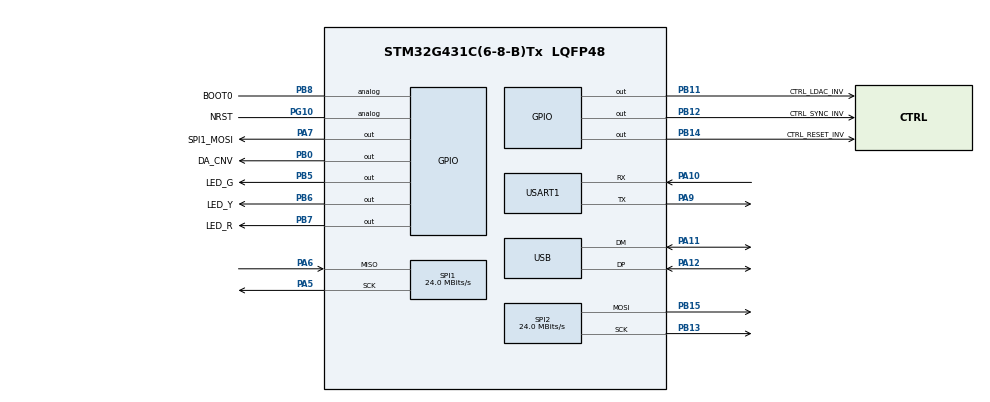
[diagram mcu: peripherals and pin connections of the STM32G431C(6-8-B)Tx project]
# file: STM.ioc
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Mcu.Family=STM32G4
Mcu.Name=STM32G431C(6-8-B)Tx
Mcu.Package=LQFP48
NVIC.PriorityGroup=NVIC_PRIORITYGROUP_4
NVIC.USB_LP_IRQn=true\:0\:0\:false\:false\:true\:false\:true
PA10.Mode=Asynchronous
PA10.Signal=USART1_RX
PA11.Mode=Device
PA11.Signal=USB_DM
PA12.Mode=Device
PA12.Signal=USB_DP
PA13.Mode=Trace_Asynchronous_SW
PA13.Signal=SYS_JTMS-SWDIO
PA14.Mode=Trace_Asynchronous_SW
PA14.Signal=SYS_JTCK-SWCLK
PA5.Mode=RX_Only_Simplex_Unidirect_Master
PA5.Signal=SPI1_SCK
PA6.Mode=RX_Only_Simplex_Unidirect_Master
PA6.Signal=SPI1_MISO
PA7.GPIO_Label=SPI1_MOSI
PA7.Signal=GPIO_Output
PA9.Mode=Asynchronous
PA9.Signal=USART1_TX
PB0.GPIO_Label=DA_CNV
PB0.Signal=GPIO_Output
PB11.GPIO_Label=CTRL_LDAC_INV
PB11.Signal=GPIO_Output
PB12.GPIO_Label=CTRL_SYNC_INV
PB12.Signal=GPIO_Output
PB13.Mode=TX_Only_Simplex_Unidirect_Master
PB13.Signal=SPI2_SCK
PB14.GPIO_Label=CTRL_RESET_INV
PB14.Signal=GPIO_Output
PB15.Mode=TX_Only_Simplex_Unidirect_Master
PB15.Signal=SPI2_MOSI
PB3.Mode=Trace_Asynchronous_SW
PB3.Signal=SYS_JTDO-SWO
PB5.GPIO_Label=LED_G
PB5.Signal=GPIO_Output
PB6.GPIO_Label=LED_Y
PB6.Signal=GPIO_Output
PB7.GPIO_Label=LED_R
PB7.Signal=GPIO_Output
PB8-BOOT0.GPIO_Label=BOOT0
PB8-BOOT0.Signal=GPIO_Analog
PF0-OSC_IN.Mode=HSE-External-Oscillator
PF0-OSC_IN.Signal=RCC_OSC_IN
PF1-OSC_OUT.Mode=HSE-External-Oscillator
PF1-OSC_OUT.Signal=RCC_OSC_OUT
PG10-NRST.GPIO_Label=NRST
PG10-NRST.Signal=GPIO_Analog
ProjectManager.HeapSize=0x200
ProjectManager.StackSize=0x400
ProjectManager.TargetToolchain=STM32CubeIDE
RCC.ADC12Freq_Value=96000000
RCC.AHBFreq_Value=96000000
RCC.APB1Freq_Value=96000000
RCC.APB1TimFreq_Value=96000000
RCC.APB2Freq_Value=96000000
RCC.APB2TimFreq_Value=96000000
RCC.CortexFreq_Value=96000000
RCC.EXTERNAL_CLOCK_VALUE=12288000
RCC.HCLKFreq_Value=96000000
RCC.HSE_VALUE=16000000
RCC.HSI48_VALUE=48000000
RCC.HSI_VALUE=16000000
RCC.LSE_VALUE=32768
RCC.PLLN=12
RCC.PLLQ=RCC_PLLQ_DIV4
RCC.SYSCLKFreq_VALUE=96000000
RCC.SYSCLKSource=RCC_SYSCLKSOURCE_PLLCLK
RCC.USBFreq_Value=48000000
RCC.VCOOutputFreq_Value=192000000
SPI1.BaudRatePrescaler=SPI_BAUDRATEPRESCALER_4
SPI1.CLKPolarity=SPI_POLARITY_HIGH
SPI1.CalculateBaudRate=24.0 MBits/s
SPI1.DataSize=SPI_DATASIZE_16BIT
SPI1.Direction=SPI_DIRECTION_2LINES_RXONLY
SPI1.FirstBit=SPI_FIRSTBIT_MSB
SPI1.Mode=SPI_MODE_MASTER
SPI1.VirtualType=VM_MASTER
SPI2.BaudRatePrescaler=SPI_BAUDRATEPRESCALER_4
SPI2.CLKPolarity=SPI_POLARITY_HIGH
SPI2.CalculateBaudRate=24.0 MBits/s
SPI2.DataSize=SPI_DATASIZE_8BIT
SPI2.Direction=SPI_DIRECTION_2LINES
SPI2.Mode=SPI_MODE_MASTER
SPI2.VirtualType=VM_MASTER
USART1.VirtualMode-Asynchronous=VM_ASYNC
USB.Sof_enable=DISABLE
USB.battery_charging_enable=DISABLE
USB.low_power_enable=DISABLE
USB.lpm_enable=DISABLE
USB_DEVICE.CLASS_NAME_FS=CDC
USB_DEVICE.VirtualMode=Cdc
USB_DEVICE.VirtualModeFS=Cdc_FS
VP_CORDIC_VS_CORDIC.Mode=CORDIC_Activate
VP_SYS_VS_DBSignals.Mode=DisableDeadBatterySignals
VP_USB_DEVICE_VS_USB_DEVICE_CDC_FS.Mode=CDC_FS
board=custom

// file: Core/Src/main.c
/* USER CODE BEGIN Header */
/**
  ******************************************************************************
  * @file           : main.c
  * @brief          : Main program body
  ******************************************************************************
  * @attention
  *
  * <h2><center>&copy; Copyright (c) 2021 STMicroelectronics.
  * All rights reserved.</center></h2>
  *
  * This software component is licensed by ST under Ultimate Liberty license
  * SLA0044, the "License"; You may not use this file except in compliance with
  * the License. You may obtain a copy of the License at:
  *                             www.st.com/SLA0044
  *
  ******************************************************************************
  */
/* USER CODE END Header */
#include "main.h"
#include "usb_device.h"

/* USER CODE BEGIN Includes */
#include "usbd_cdc_if.h"
#include <control_logic.h>
#include <data_acquisition.h>
/* USER CODE END Includes */

void SystemClock_Config(void);
static void MX_GPIO_Init(void);
static void MX_CORDIC_Init(void);
static void MX_SPI1_Init(void);
static void MX_SPI2_Init(void);
static void MX_USART1_UART_Init(void);

/* USER CODE BEGIN 0 */

char msg[256];

/* USER CODE END 0 */

int main(void)
{

  /* MCU Configuration--------------------------------------------------------*/

  /* Reset of all peripherals, Initializes the Flash interface and the Systick. */
  HAL_Init();

  /* Configure the system clock */
  SystemClock_Config();

  /* Initialize all configured peripherals */
  MX_GPIO_Init();
  MX_CORDIC_Init();
  MX_SPI1_Init();
  MX_SPI2_Init();
  MX_USART1_UART_Init();
  MX_USB_Device_Init();
  /* USER CODE BEGIN 2 */
  DAC_Init();
  ADC_Init();
  /* USER CODE END 2 */

  /* Infinite loop */
  /* USER CODE BEGIN WHILE */
  //uint16_t lvl = 0;
  uint16_t high = 0;
  uint16_t low = 0;
  uint16_t calibration = 0x12FF;
  CDC_ReceivedCommand[0] = '\0';
  CDC_ReceiveCommandSize = 0;
  while (1)
  {
	  // Change the calibration parameter over USB
	  if (CDC_ReceiveCommandSize != 0 && CDC_ReceivedCommand[CDC_ReceiveCommandSize-1] == '\r') {
		  CDC_Transmit_FS(CDC_ReceivedCommand, CDC_ReceiveCommandSize);
		  int delta;
		  scanf("%i", &delta);
		  calibration += delta;
		  sprintf(msg, "Changed calibration by %d. New calibration is %x.\n\r", delta, calibration);
		  CDC_Transmit_FS((uint8_t*)msg, strlen(msg));
		  CDC_ReceivedCommand[0] = '\0';
		  CDC_ReceiveCommandSize = 0;
	  }
	  // Set the DAC output to mid range (Final output approx. 0V)
	  high = 0x8178;
	  low = 0x0000;
	  // Increase output for 2 carrys to high
	  int n_carrys = 0;
	  while (n_carrys < 16) {
		  DAC_WriteCmd(DAC_CMD_WRITE_INPUT_REG, DAC_ADDR_X_COARSE, high);
		  DAC_WriteCmd(DAC_CMD_WRITE_INPUT_REG, DAC_ADDR_X_FINE, low);
		  DAC_WriteCmd(DAC_CMD_UPDATE_REG, 0, (1<<DAC_ADDR_X_COARSE)|(1<<DAC_ADDR_X_FINE));
		  n_carrys += ControlLogic_IncrementCompoundDAC(calibration, &high, &low, 1);
	  }
	  /*
	  DAC_WriteCmd(DAC_CMD_UPDATE_CHANNEL, DAC_ADDR_X_COARSE, lvl);
	  volatile uint16_t U_real = lvl;
	  ADC_StartConversion();
	  volatile uint16_t U_measured = ADC_Readout();
	  ++lvl;
	  sprintf(msg, "\rU_real = %d,\tU_measured = %d,\tU_diff = %d\t", U_real, U_measured, U_measured-U_real);
	  CDC_Transmit_FS((uint8_t*)msg, strlen(msg));
	  */
    /* USER CODE END WHILE */

  }
}

void SystemClock_Config(void)
{
  LL_FLASH_SetLatency(LL_FLASH_LATENCY_2);
  while(LL_FLASH_GetLatency() != LL_FLASH_LATENCY_2)
  {
  }
  LL_PWR_SetRegulVoltageScaling(LL_PWR_REGU_VOLTAGE_SCALE1);
  LL_RCC_HSI_Enable();
   /* Wait till HSI is ready */
  while(LL_RCC_HSI_IsReady() != 1)
  {
  }

  LL_RCC_HSI_SetCalibTrimming(64);
  LL_RCC_PLL_ConfigDomain_SYS(LL_RCC_PLLSOURCE_HSI, LL_RCC_PLLM_DIV_1, 12, LL_RCC_PLLR_DIV_2);
  LL_RCC_PLL_ConfigDomain_48M(LL_RCC_PLLSOURCE_HSI, LL_RCC_PLLM_DIV_1, 12, LL_RCC_PLLQ_DIV_4);
  LL_RCC_PLL_EnableDomain_SYS();
  LL_RCC_PLL_EnableDomain_48M();
  LL_RCC_PLL_Enable();
   /* Wait till PLL is ready */
  while(LL_RCC_PLL_IsReady() != 1)
  {
  }

  LL_RCC_SetSysClkSource(LL_RCC_SYS_CLKSOURCE_PLL);
  LL_RCC_SetAHBPrescaler(LL_RCC_SYSCLK_DIV_2);
   /* Wait till System clock is ready */
  while(LL_RCC_GetSysClkSource() != LL_RCC_SYS_CLKSOURCE_STATUS_PLL)
  {
  }

  /* Insure 1µs transition state at intermediate medium speed clock based on DWT */
  CoreDebug->DEMCR |= CoreDebug_DEMCR_TRCENA_Msk;
  DWT->CTRL |= DWT_CTRL_CYCCNTENA_Msk;
  DWT->CYCCNT = 0;
  while(DWT->CYCCNT < 100);
  /* Set AHB prescaler*/
  LL_RCC_SetAHBPrescaler(LL_RCC_SYSCLK_DIV_1);
  LL_RCC_SetAPB1Prescaler(LL_RCC_APB1_DIV_1);
  LL_RCC_SetAPB2Prescaler(LL_RCC_APB2_DIV_1);
  LL_SetSystemCoreClock(96000000);

   /* Update the time base */
  if (HAL_InitTick (TICK_INT_PRIORITY) != HAL_OK)
  {
    Error_Handler();
  }
  LL_RCC_SetUSBClockSource(LL_RCC_USB_CLKSOURCE_PLL);
  LL_RCC_SetUSARTClockSource(LL_RCC_USART1_CLKSOURCE_PCLK2);
}

static void MX_CORDIC_Init(void)
{

  /* Peripheral clock enable */
  LL_AHB1_GRP1_EnableClock(LL_AHB1_GRP1_PERIPH_CORDIC);

  /* nothing else to be configured */

}

static void MX_SPI1_Init(void)
{

  LL_SPI_InitTypeDef SPI_InitStruct = {0};

  LL_GPIO_InitTypeDef GPIO_InitStruct = {0};

  /* Peripheral clock enable */
  LL_APB2_GRP1_EnableClock(LL_APB2_GRP1_PERIPH_SPI1);

  LL_AHB2_GRP1_EnableClock(LL_AHB2_GRP1_PERIPH_GPIOA);
  /**SPI1 GPIO Configuration
  PA5   ------> SPI1_SCK
  PA6   ------> SPI1_MISO
  */
  GPIO_InitStruct.Pin = LL_GPIO_PIN_5;
  GPIO_InitStruct.Mode = LL_GPIO_MODE_ALTERNATE;
  GPIO_InitStruct.Speed = LL_GPIO_SPEED_FREQ_LOW;
  GPIO_InitStruct.OutputType = LL_GPIO_OUTPUT_PUSHPULL;
  GPIO_InitStruct.Pull = LL_GPIO_PULL_NO;
  GPIO_InitStruct.Alternate = LL_GPIO_AF_5;
  LL_GPIO_Init(GPIOA, &GPIO_InitStruct);

  GPIO_InitStruct.Pin = LL_GPIO_PIN_6;
  GPIO_InitStruct.Mode = LL_GPIO_MODE_ALTERNATE;
  GPIO_InitStruct.Speed = LL_GPIO_SPEED_FREQ_LOW;
  GPIO_InitStruct.OutputType = LL_GPIO_OUTPUT_PUSHPULL;
  GPIO_InitStruct.Pull = LL_GPIO_PULL_NO;
  GPIO_InitStruct.Alternate = LL_GPIO_AF_5;
  LL_GPIO_Init(GPIOA, &GPIO_InitStruct);

  /* SPI1 parameter configuration*/
  SPI_InitStruct.TransferDirection = LL_SPI_SIMPLEX_RX;
  SPI_InitStruct.Mode = LL_SPI_MODE_MASTER;
  SPI_InitStruct.DataWidth = LL_SPI_DATAWIDTH_16BIT;
  SPI_InitStruct.ClockPolarity = LL_SPI_POLARITY_HIGH;
  SPI_InitStruct.ClockPhase = LL_SPI_PHASE_1EDGE;
  SPI_InitStruct.NSS = LL_SPI_NSS_SOFT;
  SPI_InitStruct.BaudRate = LL_SPI_BAUDRATEPRESCALER_DIV4;
  SPI_InitStruct.BitOrder = LL_SPI_MSB_FIRST;
  SPI_InitStruct.CRCCalculation = LL_SPI_CRCCALCULATION_DISABLE;
  SPI_InitStruct.CRCPoly = 7;
  LL_SPI_Init(SPI1, &SPI_InitStruct);
  LL_SPI_SetStandard(SPI1, LL_SPI_PROTOCOL_MOTOROLA);
  LL_SPI_EnableNSSPulseMgt(SPI1);

}

static void MX_SPI2_Init(void)
{

  LL_SPI_InitTypeDef SPI_InitStruct = {0};

  LL_GPIO_InitTypeDef GPIO_InitStruct = {0};

  /* Peripheral clock enable */
  LL_APB1_GRP1_EnableClock(LL_APB1_GRP1_PERIPH_SPI2);

  LL_AHB2_GRP1_EnableClock(LL_AHB2_GRP1_PERIPH_GPIOB);
  /**SPI2 GPIO Configuration
  PB13   ------> SPI2_SCK
  PB15   ------> SPI2_MOSI
  */
  GPIO_InitStruct.Pin = LL_GPIO_PIN_13;
  GPIO_InitStruct.Mode = LL_GPIO_MODE_ALTERNATE;
  GPIO_InitStruct.Speed = LL_GPIO_SPEED_FREQ_LOW;
  GPIO_InitStruct.OutputType = LL_GPIO_OUTPUT_PUSHPULL;
  GPIO_InitStruct.Pull = LL_GPIO_PULL_NO;
  GPIO_InitStruct.Alternate = LL_GPIO_AF_5;
  LL_GPIO_Init(GPIOB, &GPIO_InitStruct);

  GPIO_InitStruct.Pin = LL_GPIO_PIN_15;
  GPIO_InitStruct.Mode = LL_GPIO_MODE_ALTERNATE;
  GPIO_InitStruct.Speed = LL_GPIO_SPEED_FREQ_LOW;
  GPIO_InitStruct.OutputType = LL_GPIO_OUTPUT_PUSHPULL;
  GPIO_InitStruct.Pull = LL_GPIO_PULL_NO;
  GPIO_InitStruct.Alternate = LL_GPIO_AF_5;
  LL_GPIO_Init(GPIOB, &GPIO_InitStruct);

  /* SPI2 parameter configuration*/
  SPI_InitStruct.TransferDirection = LL_SPI_FULL_DUPLEX;
  SPI_InitStruct.Mode = LL_SPI_MODE_MASTER;
  SPI_InitStruct.DataWidth = LL_SPI_DATAWIDTH_8BIT;
  SPI_InitStruct.ClockPolarity = LL_SPI_POLARITY_HIGH;
  SPI_InitStruct.ClockPhase = LL_SPI_PHASE_1EDGE;
  SPI_InitStruct.NSS = LL_SPI_NSS_SOFT;
  SPI_InitStruct.BaudRate = LL_SPI_BAUDRATEPRESCALER_DIV4;
  SPI_InitStruct.BitOrder = LL_SPI_MSB_FIRST;
  SPI_InitStruct.CRCCalculation = LL_SPI_CRCCALCULATION_DISABLE;
  SPI_InitStruct.CRCPoly = 7;
  LL_SPI_Init(SPI2, &SPI_InitStruct);
  LL_SPI_SetStandard(SPI2, LL_SPI_PROTOCOL_MOTOROLA);
  LL_SPI_EnableNSSPulseMgt(SPI2);

}

static void MX_USART1_UART_Init(void)
{

  LL_USART_InitTypeDef USART_InitStruct = {0};

  LL_GPIO_InitTypeDef GPIO_InitStruct = {0};

  /* Peripheral clock enable */
  LL_APB2_GRP1_EnableClock(LL_APB2_GRP1_PERIPH_USART1);

  LL_AHB2_GRP1_EnableClock(LL_AHB2_GRP1_PERIPH_GPIOA);
  /**USART1 GPIO Configuration
  PA9   ------> USART1_TX
  PA10   ------> USART1_RX
  */
  GPIO_InitStruct.Pin = LL_GPIO_PIN_9;
  GPIO_InitStruct.Mode = LL_GPIO_MODE_ALTERNATE;
  GPIO_InitStruct.Speed = LL_GPIO_SPEED_FREQ_LOW;
  GPIO_InitStruct.OutputType = LL_GPIO_OUTPUT_PUSHPULL;
  GPIO_InitStruct.Pull = LL_GPIO_PULL_NO;
  GPIO_InitStruct.Alternate = LL_GPIO_AF_7;
  LL_GPIO_Init(GPIOA, &GPIO_InitStruct);

  GPIO_InitStruct.Pin = LL_GPIO_PIN_10;
  GPIO_InitStruct.Mode = LL_GPIO_MODE_ALTERNATE;
  GPIO_InitStruct.Speed = LL_GPIO_SPEED_FREQ_LOW;
  GPIO_InitStruct.OutputType = LL_GPIO_OUTPUT_PUSHPULL;
  GPIO_InitStruct.Pull = LL_GPIO_PULL_NO;
  GPIO_InitStruct.Alternate = LL_GPIO_AF_7;
  LL_GPIO_Init(GPIOA, &GPIO_InitStruct);

  USART_InitStruct.PrescalerValue = LL_USART_PRESCALER_DIV1;
  USART_InitStruct.BaudRate = 115200;
  USART_InitStruct.DataWidth = LL_USART_DATAWIDTH_8B;
  USART_InitStruct.StopBits = LL_USART_STOPBITS_1;
  USART_InitStruct.Parity = LL_USART_PARITY_NONE;
  USART_InitStruct.TransferDirection = LL_USART_DIRECTION_TX_RX;
  USART_InitStruct.HardwareFlowControl = LL_USART_HWCONTROL_NONE;
  USART_InitStruct.OverSampling = LL_USART_OVERSAMPLING_16;
  LL_USART_Init(USART1, &USART_InitStruct);
  LL_USART_SetTXFIFOThreshold(USART1, LL_USART_FIFOTHRESHOLD_1_8);
  LL_USART_SetRXFIFOThreshold(USART1, LL_USART_FIFOTHRESHOLD_1_8);
  LL_USART_DisableFIFO(USART1);
  LL_USART_ConfigAsyncMode(USART1);

  LL_USART_Enable(USART1);

  /* Polling USART1 initialisation */
  while((!(LL_USART_IsActiveFlag_TEACK(USART1))) || (!(LL_USART_IsActiveFlag_REACK(USART1))))
  {
  }

}

static void MX_GPIO_Init(void)
{
  LL_GPIO_InitTypeDef GPIO_InitStruct = {0};

  /* GPIO Ports Clock Enable */
  LL_AHB2_GRP1_EnableClock(LL_AHB2_GRP1_PERIPH_GPIOF);
  LL_AHB2_GRP1_EnableClock(LL_AHB2_GRP1_PERIPH_GPIOG);
  LL_AHB2_GRP1_EnableClock(LL_AHB2_GRP1_PERIPH_GPIOA);
  LL_AHB2_GRP1_EnableClock(LL_AHB2_GRP1_PERIPH_GPIOB);

  /**/
  LL_GPIO_ResetOutputPin(SPI1_MOSI_GPIO_Port, SPI1_MOSI_Pin);

  /**/
  LL_GPIO_ResetOutputPin(DA_CNV_GPIO_Port, DA_CNV_Pin);

  /**/
  LL_GPIO_ResetOutputPin(CTRL_LDAC_INV_GPIO_Port, CTRL_LDAC_INV_Pin);

  /**/
  LL_GPIO_ResetOutputPin(CTRL_SYNC_INV_GPIO_Port, CTRL_SYNC_INV_Pin);

  /**/
  LL_GPIO_ResetOutputPin(CTRL_RESET_INV_GPIO_Port, CTRL_RESET_INV_Pin);

  /**/
  LL_GPIO_ResetOutputPin(LED_G_GPIO_Port, LED_G_Pin);

  /**/
  LL_GPIO_ResetOutputPin(LED_Y_GPIO_Port, LED_Y_Pin);

  /**/
  LL_GPIO_ResetOutputPin(LED_R_GPIO_Port, LED_R_Pin);

  /**/
  GPIO_InitStruct.Pin = NRST_Pin;
  GPIO_InitStruct.Mode = LL_GPIO_MODE_ANALOG;
  GPIO_InitStruct.Pull = LL_GPIO_PULL_NO;
  LL_GPIO_Init(NRST_GPIO_Port, &GPIO_InitStruct);

  /**/
  GPIO_InitStruct.Pin = SPI1_MOSI_Pin;
  GPIO_InitStruct.Mode = LL_GPIO_MODE_OUTPUT;
  GPIO_InitStruct.Speed = LL_GPIO_SPEED_FREQ_LOW;
  GPIO_InitStruct.OutputType = LL_GPIO_OUTPUT_PUSHPULL;
  GPIO_InitStruct.Pull = LL_GPIO_PULL_NO;
  LL_GPIO_Init(SPI1_MOSI_GPIO_Port, &GPIO_InitStruct);

  /**/
  GPIO_InitStruct.Pin = DA_CNV_Pin;
  GPIO_InitStruct.Mode = LL_GPIO_MODE_OUTPUT;
  GPIO_InitStruct.Speed = LL_GPIO_SPEED_FREQ_LOW;
  GPIO_InitStruct.OutputType = LL_GPIO_OUTPUT_PUSHPULL;
  GPIO_InitStruct.Pull = LL_GPIO_PULL_NO;
  LL_GPIO_Init(DA_CNV_GPIO_Port, &GPIO_InitStruct);

  /**/
  GPIO_InitStruct.Pin = CTRL_LDAC_INV_Pin;
  GPIO_InitStruct.Mode = LL_GPIO_MODE_OUTPUT;
  GPIO_InitStruct.Speed = LL_GPIO_SPEED_FREQ_LOW;
  GPIO_InitStruct.OutputType = LL_GPIO_OUTPUT_PUSHPULL;
  GPIO_InitStruct.Pull = LL_GPIO_PULL_NO;
  LL_GPIO_Init(CTRL_LDAC_INV_GPIO_Port, &GPIO_InitStruct);

  /**/
  GPIO_InitStruct.Pin = CTRL_SYNC_INV_Pin;
  GPIO_InitStruct.Mode = LL_GPIO_MODE_OUTPUT;
  GPIO_InitStruct.Speed = LL_GPIO_SPEED_FREQ_LOW;
  GPIO_InitStruct.OutputType = LL_GPIO_OUTPUT_PUSHPULL;
  GPIO_InitStruct.Pull = LL_GPIO_PULL_NO;
  LL_GPIO_Init(CTRL_SYNC_INV_GPIO_Port, &GPIO_InitStruct);

  /**/
  GPIO_InitStruct.Pin = CTRL_RESET_INV_Pin;
  GPIO_InitStruct.Mode = LL_GPIO_MODE_OUTPUT;
  GPIO_InitStruct.Speed = LL_GPIO_SPEED_FREQ_LOW;
  GPIO_InitStruct.OutputType = LL_GPIO_OUTPUT_PUSHPULL;
  GPIO_InitStruct.Pull = LL_GPIO_PULL_NO;
  LL_GPIO_Init(CTRL_RESET_INV_GPIO_Port, &GPIO_InitStruct);

  /**/
  GPIO_InitStruct.Pin = LED_G_Pin;
  GPIO_InitStruct.Mode = LL_GPIO_MODE_OUTPUT;
  GPIO_InitStruct.Speed = LL_GPIO_SPEED_FREQ_LOW;
  GPIO_InitStruct.OutputType = LL_GPIO_OUTPUT_PUSHPULL;
  GPIO_InitStruct.Pull = LL_GPIO_PULL_NO;
  LL_GPIO_Init(LED_G_GPIO_Port, &GPIO_InitStruct);

  /**/
  GPIO_InitStruct.Pin = LED_Y_Pin;
  GPIO_InitStruct.Mode = LL_GPIO_MODE_OUTPUT;
  GPIO_InitStruct.Speed = LL_GPIO_SPEED_FREQ_LOW;
  GPIO_InitStruct.OutputType = LL_GPIO_OUTPUT_PUSHPULL;
  GPIO_InitStruct.Pull = LL_GPIO_PULL_NO;
  LL_GPIO_Init(LED_Y_GPIO_Port, &GPIO_InitStruct);

  /**/
  GPIO_InitStruct.Pin = LED_R_Pin;
  GPIO_InitStruct.Mode = LL_GPIO_MODE_OUTPUT;
  GPIO_InitStruct.Speed = LL_GPIO_SPEED_FREQ_LOW;
  GPIO_InitStruct.OutputType = LL_GPIO_OUTPUT_PUSHPULL;
  GPIO_InitStruct.Pull = LL_GPIO_PULL_NO;
  LL_GPIO_Init(LED_R_GPIO_Port, &GPIO_InitStruct);

  /**/
  GPIO_InitStruct.Pin = BOOT0_Pin;
  GPIO_InitStruct.Mode = LL_GPIO_MODE_ANALOG;
  GPIO_InitStruct.Pull = LL_GPIO_PULL_NO;
  LL_GPIO_Init(BOOT0_GPIO_Port, &GPIO_InitStruct);

}

void Error_Handler(void)
{
}

/************************ (C) COPYRIGHT STMicroelectronics *****END OF FILE****/
